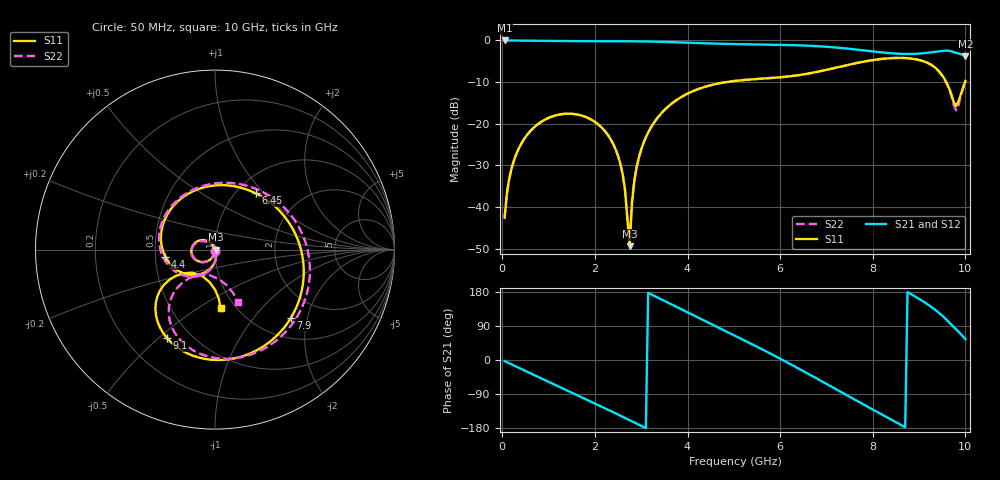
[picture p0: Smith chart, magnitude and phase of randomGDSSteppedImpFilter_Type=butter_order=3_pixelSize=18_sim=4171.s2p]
! freq	dB(S11)	phase(S11)	dB(S12)	phase(S12)
!  dB(S21)	phase(S21)	dB(S22)	phase(S22)
!S-par simulation data
#  GHz  S  DB  R 50
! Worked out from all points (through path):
!   200 points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, 50 MHz to 10 GHz, reference 50 ohm
!   highest |S21| = -0.01 dB at 50 MHz (marker M1); lowest = -3.8 dB at 10 GHz (marker M2)
!   group delay of S21, straight-line fit = 176 ps
!   lowest |S11| = -49.4 dB at 2.75 GHz (marker M3), VSWR 1.01, Z = 50.3 - j0.0437 ohm
!   |S11| at or under -10 dB: start of sweep to 4.844 GHz; 9.586 GHz to 9.991 GHz (405.2 MHz wide, 4.14 % of centre)
!   |S22| runs from -48.0 to -4.2 dB; largest |S21 - S12| = 0
!   S11 on the Smith chart (normalised r, x): 50 MHz: 1.00, -0.01; 4.4 GHz: 0.56, -0.05; 6.45 GHz: 1.22, +0.90; 7.9 GHz: 1.42, -1.59; 9.1 GHz: 0.37, -0.53; 10 GHz: 0.86, -0.62
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0.05  -42.58 -91.7  -0.01 -2.9  -0.01 -2.9  -42.57 -91.6
0.2  -30.76 -101.4  -0.02 -11.6  -0.02 -11.6  -30.76 -101.1
0.55  -22.49 -122.6  -0.07 -31.8  -0.07 -31.8  -22.49 -121.8
1.75  -18.17 167.4  -0.18 -100.2  -0.18 -100.2  -18.18 170.5
2.5  -27.73 121.3  -0.18 -143.9  -0.18 -143.9  -27.78 130.2
2.65  -35.86 108.0  -0.18 -152.8  -0.18 -152.8  -35.96 127.4
2.75  -49.41 -7.4  -0.19 -158.8  -0.19 -158.8  -48.01 -130.2
2.8  -39.05 -63.6  -0.19 -161.7  -0.19 -161.7  -38.70 -84.7
2.9  -30.51 -76.4  -0.21 -167.7  -0.21 -167.7  -30.40 -81.9
3.4  -17.94 -110.0  -0.32 162.1  -0.32 162.1  -17.91 -107.4
4.4  -11.07 -172.1  -0.69 102.0  -0.69 102.0  -11.05 -164.8
5.05  -9.70 147.1  -0.88 62.8  -0.88 62.8  -9.68 157.9
5.8  -9.04 98.1  -1.01 16.2  -1.01 16.2  -9.04 113.4
6.45  -8.25 54.3  -1.19 -26.0  -1.19 -26.0  -8.26 72.3
6.7  -7.76 37.4  -1.32 -42.7  -1.32 -42.7  -7.77 55.6
7.3  -6.29 -2.7  -1.80 -83.4  -1.80 -83.4  -6.29 14.5
7.9  -4.90 -41.8  -2.52 -124.1  -2.52 -124.1  -4.89 -26.7
8.35  -4.29 -70.4  -3.04 -154.0  -3.04 -154.0  -4.27 -56.6
9.1  -5.02 -118.4  -3.07 153.7  -3.07 153.7  -5.01 -105.9
9.5  -8.39 -143.5  -2.51 116.9  -2.51 116.9  -8.50 -131.5
9.8  -15.74 -116.0  -2.98 80.9  -2.98 80.9  -16.77 -102.6
10  -9.74 -84.6  -3.81 55.1  -3.81 55.1  -9.87 -66.5
